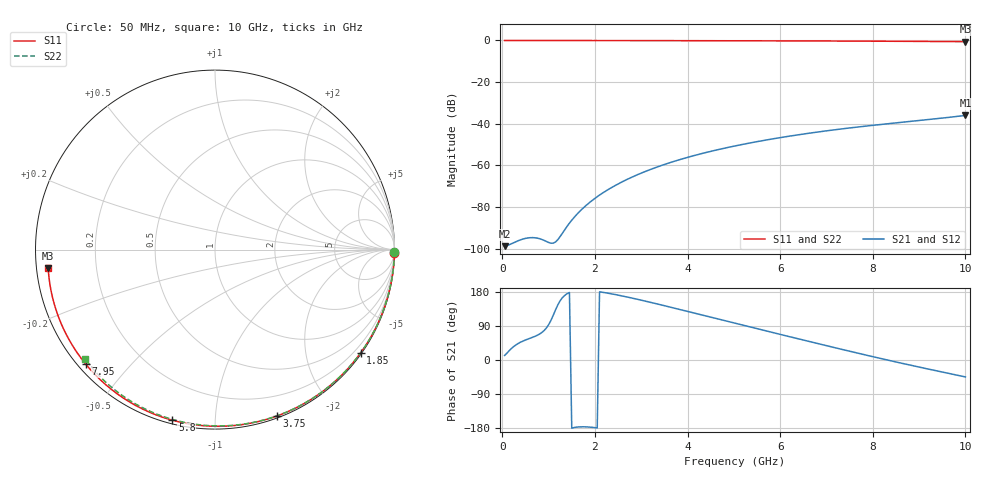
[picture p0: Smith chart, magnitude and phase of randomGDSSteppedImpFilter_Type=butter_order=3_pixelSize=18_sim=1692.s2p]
! freq	dB(S11)	phase(S11)	dB(S12)	phase(S12)
!  dB(S21)	phase(S21)	dB(S22)	phase(S22)
!S-par simulation data
#  GHz  S  DB  R 50
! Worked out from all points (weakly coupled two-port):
!   200 points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, 50 MHz to 10 GHz, reference 50 ohm
!   highest |S21| = -36.03 dB at 10 GHz (marker M1); lowest = -98.8 dB at 50 MHz (marker M2)
!   lowest |S11| = -0.6 dB at 10 GHz (marker M3), VSWR 29.80, Z = 1.68 - j2.77 ohm
!   |S11| at or under -10 dB: nowhere
!   |S22| runs from -0.5 to 0.0 dB; largest |S21 - S12| = 0
!   S11 on the Smith chart (normalised r, x): 50 MHz: open; 1.85 GHz: 0.03, -3.14; 3.75 GHz: 0.02, -1.44; 5.8 GHz: 0.02, -0.78; 7.95 GHz: 0.02, -0.38; 10 GHz: 0.03, -0.06
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0.05  -0.00 -1.0  -98.84 11.9  -98.84 11.9  -0.00 -0.8
0.45  -0.01 -8.8  -95.39 50.2  -95.39 50.2  -0.01 -7.3
0.9  -0.02 -17.4  -96.03 77.4  -96.03 77.4  -0.02 -14.5
1.3  -0.03 -25.0  -92.53 164.7  -92.53 164.7  -0.03 -20.9
1.75  -0.04 -33.5  -80.45 -176.2  -80.45 -176.2  -0.04 -27.9
1.8  -0.04 -34.4  -79.45 -176.4  -79.45 -176.4  -0.04 -28.7
1.85  -0.04 -35.4  -78.49 -176.7  -78.49 -176.7  -0.04 -29.5
2  -0.05 -38.2  -75.87 -178.5  -75.87 -178.5  -0.04 -31.8
2.15  -0.05 -40.9  -73.55 179.0  -73.55 179.0  -0.04 -34.2
2.5  -0.06 -47.4  -68.95 171.3  -68.95 171.3  -0.05 -39.5
2.9  -0.07 -54.6  -64.68 160.7  -64.68 160.7  -0.06 -45.6
3.4  -0.08 -63.5  -60.35 146.3  -60.35 146.3  -0.07 -53.1
3.75  -0.09 -69.7  -57.80 135.8  -57.80 135.8  -0.08 -58.2
4.4  -0.12 -80.8  -53.82 116.1  -53.82 116.1  -0.10 -67.6
5.05  -0.14 -91.7  -50.56 96.3  -50.56 96.3  -0.12 -76.7
5.8  -0.18 -104.0  -47.43 73.6  -47.43 73.6  -0.15 -86.9
6.7  -0.23 -118.5  -44.33 46.7  -44.33 46.7  -0.19 -98.7
7.3  -0.28 -128.0  -42.58 29.0  -42.58 29.0  -0.23 -106.3
7.95  -0.33 -138.5  -40.90 10.2  -40.90 10.2  -0.27 -114.5
8.35  -0.37 -145.0  -39.95 -1.0  -39.95 -1.0  -0.31 -119.4
9.2  -0.47 -159.3  -38.01 -24.0  -38.01 -24.0  -0.39 -129.9
10  -0.58 -173.6  -36.03 -44.7  -36.03 -44.7  -0.49 -139.8
